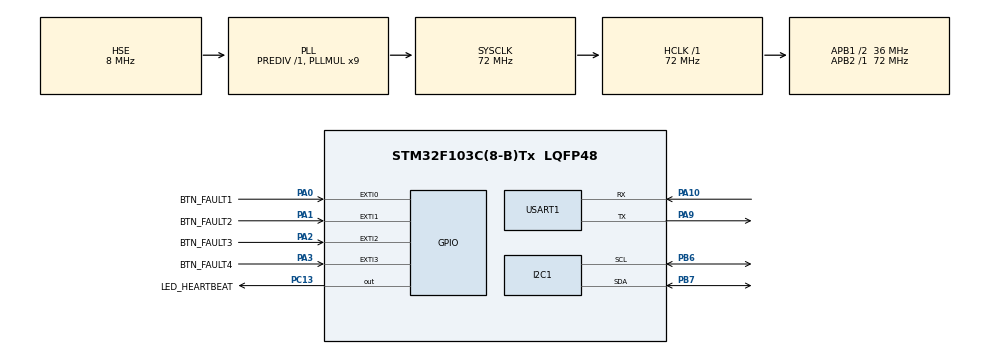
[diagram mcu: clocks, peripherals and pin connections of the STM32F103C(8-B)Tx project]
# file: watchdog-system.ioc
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board=custom
IWDG.Prescaler=IWDG_PRESCALER_64
IWDG.Reload=624
Mcu.Family=STM32F1
Mcu.Name=STM32F103C(8-B)Tx
Mcu.Package=LQFP48
NVIC.EXTI0_IRQn=true\:0\:0\:false\:false\:true\:true\:true\:true
NVIC.EXTI1_IRQn=true\:0\:0\:false\:false\:true\:true\:true\:true
NVIC.EXTI2_IRQn=true\:0\:0\:false\:false\:true\:true\:true\:true
NVIC.EXTI3_IRQn=true\:0\:0\:false\:false\:true\:true\:true\:true
NVIC.PriorityGroup=NVIC_PRIORITYGROUP_4
PA0-WKUP.GPIO_Label=BTN_FAULT1
PA0-WKUP.GPIO_ModeDefaultEXTI=GPIO_MODE_IT_FALLING
PA0-WKUP.GPIO_PuPd=GPIO_PULLUP
PA0-WKUP.Signal=GPXTI0
PA1.GPIO_Label=BTN_FAULT2
PA1.GPIO_ModeDefaultEXTI=GPIO_MODE_IT_FALLING
PA1.GPIO_PuPd=GPIO_PULLUP
PA1.Signal=GPXTI1
PA10.Mode=Asynchronous
PA10.Signal=USART1_RX
PA13.Mode=Serial_Wire
PA13.Signal=SYS_JTMS-SWDIO
PA14.Mode=Serial_Wire
PA14.Signal=SYS_JTCK-SWCLK
PA2.GPIO_Label=BTN_FAULT3
PA2.GPIO_ModeDefaultEXTI=GPIO_MODE_IT_FALLING
PA2.GPIO_PuPd=GPIO_PULLUP
PA2.Signal=GPXTI2
PA3.GPIO_Label=BTN_FAULT4
PA3.GPIO_ModeDefaultEXTI=GPIO_MODE_IT_FALLING
PA3.GPIO_PuPd=GPIO_PULLUP
PA3.Signal=GPXTI3
PA9.Mode=Asynchronous
PA9.Signal=USART1_TX
PB6.Mode=I2C
PB6.Signal=I2C1_SCL
PB7.Mode=I2C
PB7.Signal=I2C1_SDA
PC13-TAMPER-RTC.GPIO_Label=LED_HEARTBEAT
PC13-TAMPER-RTC.Signal=GPIO_Output
PC14-OSC32_IN.Mode=LSE-External-Oscillator
PC14-OSC32_IN.Signal=RCC_OSC32_IN
PC15-OSC32_OUT.Mode=LSE-External-Oscillator
PC15-OSC32_OUT.Signal=RCC_OSC32_OUT
PD0-OSC_IN.Mode=HSE-External-Oscillator
PD0-OSC_IN.Signal=RCC_OSC_IN
PD1-OSC_OUT.Mode=HSE-External-Oscillator
PD1-OSC_OUT.Signal=RCC_OSC_OUT
ProjectManager.HeapSize=0x200
ProjectManager.StackSize=0x400
ProjectManager.TargetToolchain=MDK-ARM V5.32
RCC.AHBFreq_Value=72000000
RCC.APB1CLKDivider=RCC_HCLK_DIV2
RCC.APB1Freq_Value=36000000
RCC.APB1TimFreq_Value=72000000
RCC.APB2Freq_Value=72000000
RCC.APB2TimFreq_Value=72000000
RCC.HCLKFreq_Value=72000000
RCC.PLLMUL=RCC_PLL_MUL9
RCC.PLLSourceVirtual=RCC_PLLSOURCE_HSE
RCC.SYSCLKFreq_VALUE=72000000
RCC.SYSCLKSource=RCC_SYSCLKSOURCE_PLLCLK
RCC.USBFreq_Value=72000000
USART1.VirtualMode=VM_ASYNC
VP_IWDG_VS_IWDG.Mode=IWDG_Activate
VP_RTC_VS_RTC_Activate.Mode=RTC_Enabled
VP_RTC_VS_RTC_Calendar.Mode=RTC_Calendar
VP_WWDG_VS_WWDG.Mode=WWDG_Activate
WWDG.Counter=127
WWDG.Prescaler=WWDG_PRESCALER_8
WWDG.Window=80

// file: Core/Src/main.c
/* USER CODE BEGIN Header */
/**
  ******************************************************************************
  * @file           : main.c
  * @brief          : Main program body
  ******************************************************************************
  * @attention
  *
  * Copyright (c) 2026 STMicroelectronics.
  * All rights reserved.
  *
  * This software is licensed under terms that can be found in the LICENSE file
  * in the root directory of this software component.
  * If no LICENSE file comes with this software, it is provided AS-IS.
  *
  ******************************************************************************
  */
/* USER CODE END Header */
#include "main.h"

/* USER CODE BEGIN Includes */
#include <stdio.h>
#include <string.h>
#include "iwdg_monitor.h"    /* SV1: giam sat va nap lai IWDG theo tac vu  */
#include "system_status.h"   /* SV4: DHT11 + heartbeat + UART log + WWDG   */
#include "lcd.h"             /* SV3: LCD 16x2 I2C                          */
#include "doc_loi.h"         /* SV3: doc nguyen nhan reset + dem (BKP)     */
#include "mo_phong_loi.h"    /* SV2/SV3: nut nhan EXTI -> mo phong loi     */
#include "flash_log.h"       /* Mo rong: luu log loi vao Flash Page 63     */
/* USER CODE END Includes */

/* USER CODE BEGIN PD */
/* 1 = bat WWDG de so sanh voi IWDG.
 * Khi bat: main loop KHONG duoc block qua ~15 ms (khong dung HAL_Delay dai). */
#define APP_ENABLE_WWDG     0
/* USER CODE END PD */

I2C_HandleTypeDef hi2c1;

IWDG_HandleTypeDef hiwdg;

RTC_HandleTypeDef hrtc;

UART_HandleTypeDef huart1;

WWDG_HandleTypeDef hwwdg;

void SystemClock_Config(void);
static void MX_GPIO_Init(void);
static void MX_I2C1_Init(void);
static void MX_IWDG_Init(void);
static void MX_RTC_Init(void);
static void MX_USART1_UART_Init(void);
static void MX_WWDG_Init(void);

/* USER CODE BEGIN 0 */
#define LCD_RESET_INFO_MS   5000U   /* hien thi thong tin reset tren LCD 5 s */

/* Chuyen chuoi nguyen nhan cua SV3 (doc_loi) sang enum chung cua SV4 */
static ResetReason_t map_reset_cause(const char *c)
{
  if (strcmp(c, "POWER") == 0) return RESET_POWER_ON;
  if (strcmp(c, "IWDG")  == 0) return RESET_IWDG;
  if (strcmp(c, "WWDG")  == 0) return RESET_WWDG;
  if (strcmp(c, "SOFT")  == 0) return RESET_SOFTWARE;
  if (strcmp(c, "NRST")  == 0) return RESET_PIN;
  return RESET_UNKNOWN;
}

static const char *fault_name(FaultCode f)
{
  switch (f) {
    case FAULT_LOOP:      return "TREO VONG LAP";
    case FAULT_SENSOR:    return "CHO CAM BIEN VO HAN";
    case FAULT_HARDFAULT: return "HARDFAULT";
    default:              return "KHONG CO";
  }
}

/* Hien thi nhiet do / do am len LCD khi co ket qua doc moi */
static void lcd_show_temp(void)
{
  static uint32_t last_tick = 0;
  const TempData_t *d = Temp_GetData();
  char line[17];

  if (d->tick == last_tick) return;            /* chua co ket qua moi */
  last_tick = d->tick;

  if (d->status == TEMP_OK) {
    int t = d->temp_x10;
    snprintf(line, sizeof(line), "Nhiet do:%s%2d.%dC ", (t < 0) ? "-" : " ",
             (t < 0 ? -t : t) / 10, (t < 0 ? -t : t) % 10);
    lcd_set_cursor(1, 1);
    lcd_print_string(line);
    snprintf(line, sizeof(line), "Do am:   %3u.%u%% ",
             (unsigned)(d->hum_x10 / 10U), (unsigned)(d->hum_x10 % 10U));
    lcd_set_cursor(2, 1);
    lcd_print_string(line);
  } else {
    lcd_set_cursor(1, 1);
    lcd_print_string("DHT11: LOI DOC  ");
    snprintf(line, sizeof(line), "%-16s", Temp_StatusStr(d->status));
    lcd_set_cursor(2, 1);
    lcd_print_string(line);
  }
}
/* USER CODE END 0 */

int main(void)
{

  /* MCU Configuration--------------------------------------------------------*/

  /* Reset of all peripherals, Initializes the Flash interface and the Systick. */
  HAL_Init();

  /* Configure the system clock */
  SystemClock_Config();

  /* Initialize all configured peripherals */
  MX_GPIO_Init();
  MX_I2C1_Init();
  MX_IWDG_Init();
  MX_RTC_Init();
  MX_USART1_UART_Init();
  /* USER CODE BEGIN 2 */
  /* ----- SV4: UART log + LED heartbeat + DHT11 ----- */
  Status_Init(&huart1);

  /* ----- SV3: doc nguyen nhan reset + so lan reset (BKP), hien thi LCD ----- */
  ResetInfor ri;
  lcd_init(&hi2c1);
  doc_loi_Init(&ri);
  lcd_display_clear();
  hien_thi_loi(&ri);
  IWDG_Monitor_Register(TASK_ID_DISPLAY);

  /* SV4: ghi log nguyen nhan reset qua UART (+ LED nhay nhanh neu do watchdog) */
  Status_LogReset(map_reset_cause(ri.cause), ri.count);
  Status_Printf("[RESET] Loi truoc khi reset: %s", fault_name(ri.fault));

  /* Mo rong: In thong tin PC va LR neu truoc do bi HardFault */
  if (ri.fault == FAULT_HARDFAULT && ri.has_hardfault_info) {
    Status_Printf("[RESET] HardFault Context: PC = 0x%08lX | LR = 0x%08lX",
                  (unsigned long)ri.fault_pc, (unsigned long)ri.fault_lr);
  }

  /* Mo rong: Khoi tao va luu log su co vao Flash (Page 63) */
  FlashLog_Init();
  if (ri.fault != FAULT_NONE || ri.count == 1) {
    FlashLog_Write((uint16_t)ri.count, (uint8_t)map_reset_cause(ri.cause),
                   (uint8_t)ri.fault, 0, ri.fault_pc, ri.fault_lr);
  }
  FlashLog_PrintAll();

  MX_WWDG_Init();
#if APP_ENABLE_WWDG
  Status_WWDG_Attach(&hwwdg);
#endif

  Status_Printf("[WDG] IWDG: ON (%lu ms @40kHz, min %lu ms @60kHz) | WWDG: %s",
                (unsigned long)IWDG_Monitor_GetTimeoutMs(40000U),
                (unsigned long)IWDG_Monitor_GetTimeoutMs(IWDG_LSI_MAX_HZ),
                APP_ENABLE_WWDG ? "ON (~58 ms)" : "OFF");

  uint32_t lcd_info_start = HAL_GetTick();
  uint8_t  lcd_show_info  = 1;
  /* USER CODE END 2 */

  /* Infinite loop */
  while (1)
  {

    /* USER CODE BEGIN 3 */
    /* SV4 - ung dung nen: service WWDG + LED heartbeat + do nhiet + checkin TASK_ID_STATUS */
    Status_Process();

    /* SV3 - LCD: giu thong tin reset 5 s (khong dung HAL_Delay), sau do hien thi nhiet do */
    if (lcd_show_info) {
      if (HAL_GetTick() - lcd_info_start >= LCD_RESET_INFO_MS) {
        lcd_show_info = 0;
        lcd_display_clear();
      }
    } else {
      lcd_show_temp();
    }
    IWDG_Monitor_Checkin(TASK_ID_DISPLAY);

    /* SV2/SV3: nut nhan (EXTI) da bam -> kich hoat loi mo phong */
    quet_loi();

    /* SV1: chi nap lai IWDG khi MOI tac vu da Register deu Checkin "khoe" */
    IWDG_Monitor_Feed();
  }
  /* USER CODE END 3 */
}

void SystemClock_Config(void)
{
  RCC_OscInitTypeDef RCC_OscInitStruct = {0};
  RCC_ClkInitTypeDef RCC_ClkInitStruct = {0};
  RCC_PeriphCLKInitTypeDef PeriphClkInit = {0};

  /** Initializes the RCC Oscillators according to the specified parameters
  * in the RCC_OscInitTypeDef structure.
  */
  RCC_OscInitStruct.OscillatorType = RCC_OSCILLATORTYPE_LSI|RCC_OSCILLATORTYPE_HSE;
  RCC_OscInitStruct.HSEState = RCC_HSE_ON;
  RCC_OscInitStruct.HSEPredivValue = RCC_HSE_PREDIV_DIV1;
  RCC_OscInitStruct.HSIState = RCC_HSI_ON;
  RCC_OscInitStruct.LSIState = RCC_LSI_ON;
  RCC_OscInitStruct.PLL.PLLState = RCC_PLL_ON;
  RCC_OscInitStruct.PLL.PLLSource = RCC_PLLSOURCE_HSE;
  RCC_OscInitStruct.PLL.PLLMUL = RCC_PLL_MUL9;
  if (HAL_RCC_OscConfig(&RCC_OscInitStruct) != HAL_OK)
  {
    Error_Handler();
  }

  /** Initializes the CPU, AHB and APB buses clocks
  */
  RCC_ClkInitStruct.ClockType = RCC_CLOCKTYPE_HCLK|RCC_CLOCKTYPE_SYSCLK
                              |RCC_CLOCKTYPE_PCLK1|RCC_CLOCKTYPE_PCLK2;
  RCC_ClkInitStruct.SYSCLKSource = RCC_SYSCLKSOURCE_PLLCLK;
  RCC_ClkInitStruct.AHBCLKDivider = RCC_SYSCLK_DIV1;
  RCC_ClkInitStruct.APB1CLKDivider = RCC_HCLK_DIV2;
  RCC_ClkInitStruct.APB2CLKDivider = RCC_HCLK_DIV1;

  if (HAL_RCC_ClockConfig(&RCC_ClkInitStruct, FLASH_LATENCY_2) != HAL_OK)
  {
    Error_Handler();
  }
  PeriphClkInit.PeriphClockSelection = RCC_PERIPHCLK_RTC;
  PeriphClkInit.RTCClockSelection = RCC_RTCCLKSOURCE_LSI;
  if (HAL_RCCEx_PeriphCLKConfig(&PeriphClkInit) != HAL_OK)
  {
    Error_Handler();
  }
}

static void MX_I2C1_Init(void)
{

  hi2c1.Instance = I2C1;
  hi2c1.Init.ClockSpeed = 100000;
  hi2c1.Init.DutyCycle = I2C_DUTYCYCLE_2;
  hi2c1.Init.OwnAddress1 = 0;
  hi2c1.Init.AddressingMode = I2C_ADDRESSINGMODE_7BIT;
  hi2c1.Init.DualAddressMode = I2C_DUALADDRESS_DISABLE;
  hi2c1.Init.OwnAddress2 = 0;
  hi2c1.Init.GeneralCallMode = I2C_GENERALCALL_DISABLE;
  hi2c1.Init.NoStretchMode = I2C_NOSTRETCH_DISABLE;
  if (HAL_I2C_Init(&hi2c1) != HAL_OK)
  {
    Error_Handler();
  }

}

static void MX_IWDG_Init(void)
{

  hiwdg.Instance = IWDG;
  hiwdg.Init.Prescaler = IWDG_PRESCALER_64;
  hiwdg.Init.Reload = 624;
  if (HAL_IWDG_Init(&hiwdg) != HAL_OK)
  {
    Error_Handler();
  }
  /* USER CODE BEGIN IWDG_Init 2 */
  IWDG_Monitor_Init(&hiwdg);
  /* USER CODE END IWDG_Init 2 */

}

static void MX_RTC_Init(void)
{

  RTC_TimeTypeDef sTime = {0};
  RTC_DateTypeDef DateToUpdate = {0};

  /** Initialize RTC Only
  */
  hrtc.Instance = RTC;
  hrtc.Init.AsynchPrediv = RTC_AUTO_1_SECOND;
  hrtc.Init.OutPut = RTC_OUTPUTSOURCE_ALARM;
  if (HAL_RTC_Init(&hrtc) != HAL_OK)
  {
    Error_Handler();
  }

  /** Initialize RTC and set the Time and Date
  */
  sTime.Hours = 0x0;
  sTime.Minutes = 0x0;
  sTime.Seconds = 0x0;

  if (HAL_RTC_SetTime(&hrtc, &sTime, RTC_FORMAT_BCD) != HAL_OK)
  {
    Error_Handler();
  }
  DateToUpdate.WeekDay = RTC_WEEKDAY_MONDAY;
  DateToUpdate.Month = RTC_MONTH_JANUARY;
  DateToUpdate.Date = 0x1;
  DateToUpdate.Year = 0x0;

  if (HAL_RTC_SetDate(&hrtc, &DateToUpdate, RTC_FORMAT_BCD) != HAL_OK)
  {
    Error_Handler();
  }

}

static void MX_USART1_UART_Init(void)
{

  huart1.Instance = USART1;
  huart1.Init.BaudRate = 115200;
  huart1.Init.WordLength = UART_WORDLENGTH_8B;
  huart1.Init.StopBits = UART_STOPBITS_1;
  huart1.Init.Parity = UART_PARITY_NONE;
  huart1.Init.Mode = UART_MODE_TX_RX;
  huart1.Init.HwFlowCtl = UART_HWCONTROL_NONE;
  huart1.Init.OverSampling = UART_OVERSAMPLING_16;
  if (HAL_UART_Init(&huart1) != HAL_OK)
  {
    Error_Handler();
  }

}

static void MX_WWDG_Init(void)
{

  /* USER CODE BEGIN WWDG_Init 0 */
  if (!APP_ENABLE_WWDG) return;
  /* USER CODE END WWDG_Init 0 */

  hwwdg.Instance = WWDG;
  hwwdg.Init.Prescaler = WWDG_PRESCALER_8;
  hwwdg.Init.Window = 80;
  hwwdg.Init.Counter = 127;
  hwwdg.Init.EWIMode = WWDG_EWI_DISABLE;
  if (HAL_WWDG_Init(&hwwdg) != HAL_OK)
  {
    Error_Handler();
  }

}

static void MX_GPIO_Init(void)
{
  GPIO_InitTypeDef GPIO_InitStruct = {0};

  /* GPIO Ports Clock Enable */
  __HAL_RCC_GPIOC_CLK_ENABLE();
  __HAL_RCC_GPIOD_CLK_ENABLE();
  __HAL_RCC_GPIOA_CLK_ENABLE();
  __HAL_RCC_GPIOB_CLK_ENABLE();

  /*Configure GPIO pin Output Level */
  HAL_GPIO_WritePin(LED_HEARTBEAT_GPIO_Port, LED_HEARTBEAT_Pin, GPIO_PIN_RESET);

  /*Configure GPIO pin : LED_HEARTBEAT_Pin */
  GPIO_InitStruct.Pin = LED_HEARTBEAT_Pin;
  GPIO_InitStruct.Mode = GPIO_MODE_OUTPUT_PP;
  GPIO_InitStruct.Pull = GPIO_NOPULL;
  GPIO_InitStruct.Speed = GPIO_SPEED_FREQ_LOW;
  HAL_GPIO_Init(LED_HEARTBEAT_GPIO_Port, &GPIO_InitStruct);

  /*Configure GPIO pins : BTN_FAULT1_Pin BTN_FAULT2_Pin BTN_FAULT3_Pin BTN_FAULT4_Pin */
  GPIO_InitStruct.Pin = BTN_FAULT1_Pin|BTN_FAULT2_Pin|BTN_FAULT3_Pin|BTN_FAULT4_Pin;
  GPIO_InitStruct.Mode = GPIO_MODE_IT_FALLING;
  GPIO_InitStruct.Pull = GPIO_PULLUP;
  HAL_GPIO_Init(GPIOA, &GPIO_InitStruct);

  /* EXTI interrupt init*/
  HAL_NVIC_SetPriority(EXTI0_IRQn, 0, 0);
  HAL_NVIC_EnableIRQ(EXTI0_IRQn);

  HAL_NVIC_SetPriority(EXTI1_IRQn, 0, 0);
  HAL_NVIC_EnableIRQ(EXTI1_IRQn);

  HAL_NVIC_SetPriority(EXTI2_IRQn, 0, 0);
  HAL_NVIC_EnableIRQ(EXTI2_IRQn);

  HAL_NVIC_SetPriority(EXTI3_IRQn, 0, 0);
  HAL_NVIC_EnableIRQ(EXTI3_IRQn);

}

void Error_Handler(void)
{
  __disable_irq();
  while (1)
  {
  }
}
